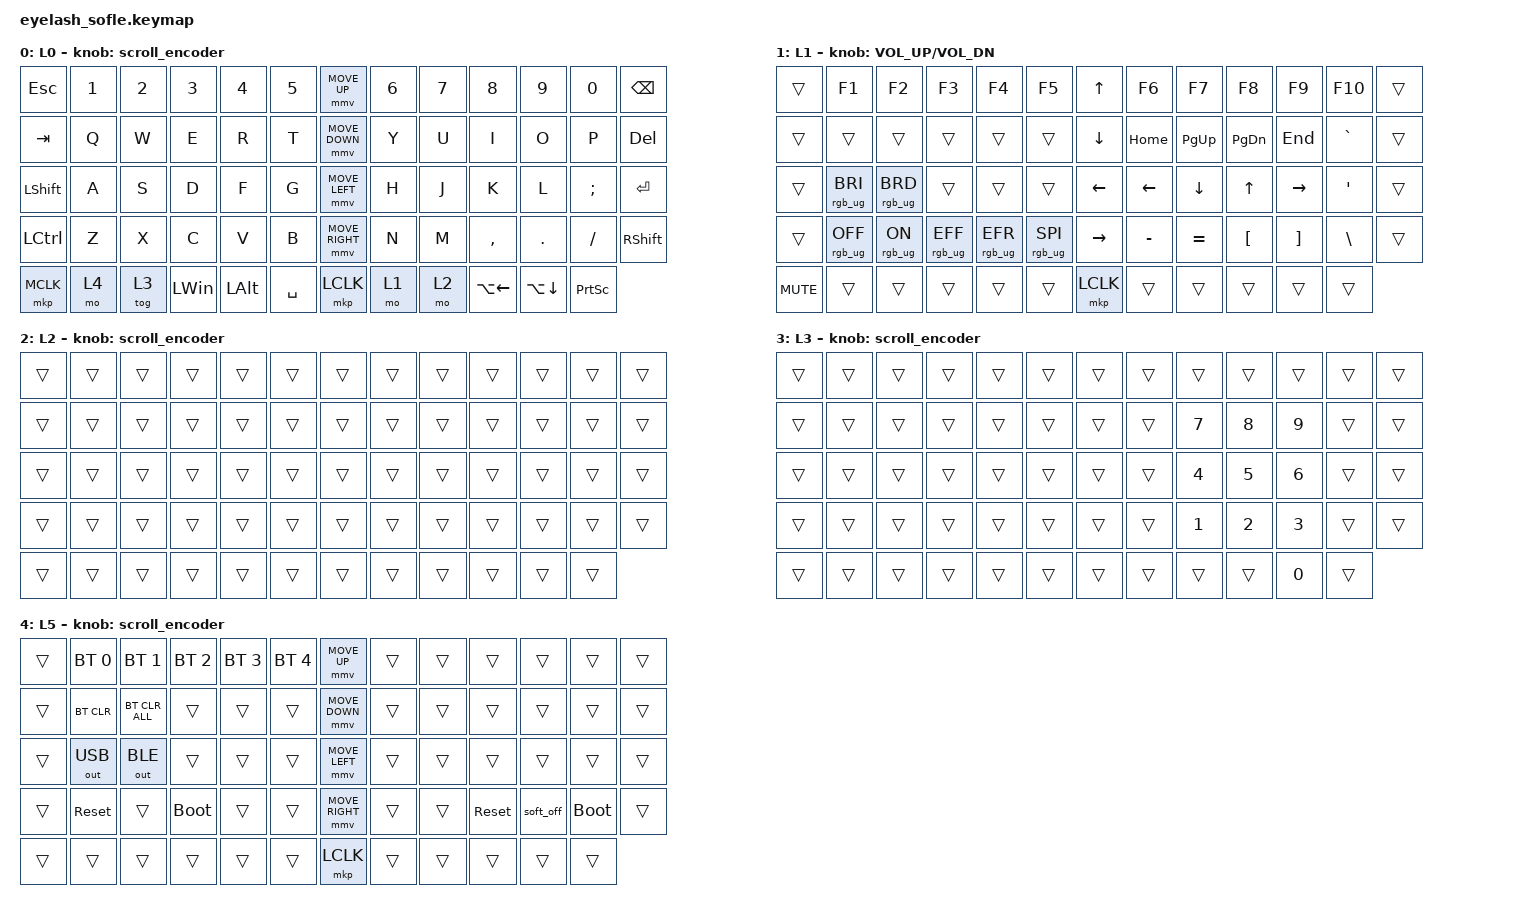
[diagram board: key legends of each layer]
#define ZMK_POINTING_DEFAULT_MOVE_VAL 1200  // 600
#define ZMK_POINTING_DEFAULT_SCRL_VAL 25   // 10

#include <input/processors.dtsi>
#include <zephyr/dt-bindings/input/input-event-codes.h>
#include <behaviors.dtsi>
#include <dt-bindings/zmk/bt.h>
#include <dt-bindings/zmk/keys.h>
#include <dt-bindings/zmk/outputs.h>
#include <dt-bindings/zmk/pointing.h>
#include <dt-bindings/zmk/rgb.h>

&mmv_input_listener { input-processors = <&zip_xy_scaler 2 1>; };

&msc_input_listener { input-processors = <&zip_scroll_scaler 2 1>; };

&msc {
    acceleration-exponent = <1>;      // 0
    time-to-max-speed-ms = <100>;       // 300
    delay-ms = <0>;                   // 0
};

&mmv {
    time-to-max-speed-ms = <500>;
    acceleration-exponent = <1>;
    trigger-period-ms = <16>;
};

&soft_off { hold-time-ms = <2000>; };

/ {
    scroll_encoder: scroll_encoder {
        compatible = "zmk,behavior-sensor-rotate";
        #sensor-binding-cells = <0>;
        bindings = <&msc SCRL_DOWN>, <&msc SCRL_UP>;

        tap-ms = <100>;
    };

    behaviors {
    };

    combos {
        compatible = "zmk,combos";

        softoff {
            bindings = <&soft_off>;
            key-positions = <14 28 40>;
        };
    };

    keymap {
        compatible = "zmk,keymap";

        normal {
            bindings = <
&kp ESC         &kp N1  &kp N2  &kp N3        &kp N4        &kp N5       &mmv MOVE_UP     &kp N6  &kp N7  &kp N8        &kp N9              &kp N0           &kp BACKSPACE
&kp TAB         &kp Q   &kp W   &kp E         &kp R         &kp T        &mmv MOVE_DOWN   &kp Y   &kp U   &kp I         &kp O               &kp P            &kp DEL
&kp LEFT_SHIFT  &kp A   &kp S   &kp D         &kp F         &kp G        &mmv MOVE_LEFT   &kp H   &kp J   &kp K         &kp L               &kp SEMI         &kp ENTER
&kp LCTRL       &kp Z   &kp X   &kp C         &kp V         &kp B        &mmv MOVE_RIGHT  &kp N   &kp M   &kp COMMA     &kp DOT             &kp FSLH         &kp RIGHT_SHIFT
&mkp MCLK       &mo 4   &tog 3  &kp LEFT_WIN  &kp LEFT_ALT  &kp SPACE    &mkp LCLK        &mo 1   &mo 2   &kp LA(LEFT)  &kp LA(DOWN_ARROW)  &kp PRINTSCREEN
            >;

            sensor-bindings = <&scroll_encoder>;
            display-name = "L0";
        };

        navigate {
            bindings = <
&trans      &kp F1           &kp F2           &kp F3           &kp F4           &kp F5             &kp UP_ARROW     &kp F6     &kp F7          &kp F8         &kp F9     &kp F10        &trans
&trans      &trans           &trans           &trans           &trans           &trans             &kp DOWN_ARROW   &kp HOME   &kp PAGE_UP     &kp PAGE_DOWN  &kp END    &kp GRAVE      &trans
&trans      &rgb_ug RGB_BRI  &rgb_ug RGB_BRD  &trans           &trans           &trans             &kp LEFT_ARROW   &kp LEFT   &kp DOWN_ARROW  &kp UP_ARROW   &kp RIGHT  &kp APOS       &trans
&trans      &rgb_ug RGB_OFF  &rgb_ug RGB_ON   &rgb_ug RGB_EFF  &rgb_ug RGB_EFR  &rgb_ug RGB_SPI    &kp RIGHT_ARROW  &kp MINUS  &kp EQUAL       &kp LBKT       &kp RBKT   &kp BACKSLASH  &trans
&kp C_MUTE  &trans           &trans           &trans           &trans           &trans             &mkp LCLK        &trans     &trans          &trans         &trans     &trans
            >;

            display-name = "L1";
            sensor-bindings = <&inc_dec_kp C_VOLUME_UP C_VOL_DN>;
        };

        media {
            bindings = <
&trans  &trans  &trans  &trans  &trans  &trans    &trans  &trans  &trans  &trans  &trans  &trans  &trans
&trans  &trans  &trans  &trans  &trans  &trans    &trans  &trans  &trans  &trans  &trans  &trans  &trans
&trans  &trans  &trans  &trans  &trans  &trans    &trans  &trans  &trans  &trans  &trans  &trans  &trans
&trans  &trans  &trans  &trans  &trans  &trans    &trans  &trans  &trans  &trans  &trans  &trans  &trans
&trans  &trans  &trans  &trans  &trans  &trans    &trans  &trans  &trans  &trans  &trans  &trans
            >;

            display-name = "L2";
            sensor-bindings = <&scroll_encoder>;
        };

        number {
            bindings = <
&trans  &trans  &trans  &trans  &trans  &trans    &trans  &trans  &trans  &trans  &trans  &trans  &trans
&trans  &trans  &trans  &trans  &trans  &trans    &trans  &trans  &kp N7  &kp N8  &kp N9  &trans  &trans
&trans  &trans  &trans  &trans  &trans  &trans    &trans  &trans  &kp N4  &kp N5  &kp N6  &trans  &trans
&trans  &trans  &trans  &trans  &trans  &trans    &trans  &trans  &kp N1  &kp N2  &kp N3  &trans  &trans
&trans  &trans  &trans  &trans  &trans  &trans    &trans  &trans  &trans  &trans  &kp N0  &trans
            >;

            display-name = "L3";
            sensor-bindings = <&scroll_encoder>;
        };

        system {
            bindings = <
&trans  &bt BT_SEL 0  &bt BT_SEL 1    &bt BT_SEL 2  &bt BT_SEL 3  &bt BT_SEL 4    &mmv MOVE_UP     &trans  &trans  &trans      &trans     &trans       &trans
&trans  &bt BT_CLR    &bt BT_CLR_ALL  &trans        &trans        &trans          &mmv MOVE_DOWN   &trans  &trans  &trans      &trans     &trans       &trans
&trans  &out OUT_USB  &out OUT_BLE    &trans        &trans        &trans          &mmv MOVE_LEFT   &trans  &trans  &trans      &trans     &trans       &trans
&trans  &sys_reset    &trans          &bootloader   &trans        &trans          &mmv MOVE_RIGHT  &trans  &trans  &sys_reset  &soft_off  &bootloader  &trans
&trans  &trans        &trans          &trans        &trans        &trans          &mkp LCLK        &trans  &trans  &trans      &trans     &trans
            >;

            display-name = "L5";
            sensor-bindings = <&scroll_encoder>;
        };
    };
};
